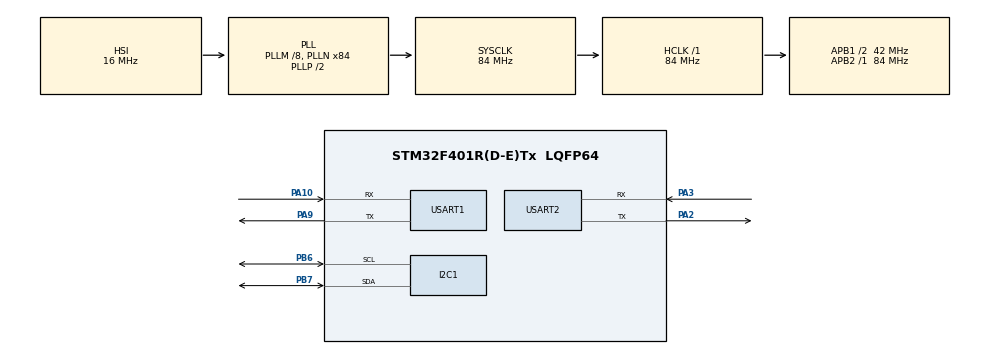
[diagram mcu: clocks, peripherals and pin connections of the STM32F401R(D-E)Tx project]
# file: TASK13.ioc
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Mcu.Family=STM32F4
Mcu.Name=STM32F401R(D-E)Tx
Mcu.Package=LQFP64
NVIC.I2C1_ER_IRQn=true\:0\:0\:false\:false\:true\:true\:true\:true
NVIC.I2C1_EV_IRQn=true\:0\:0\:false\:false\:true\:true\:true\:true
NVIC.PriorityGroup=NVIC_PRIORITYGROUP_4
NVIC.USART1_IRQn=true\:0\:0\:false\:false\:true\:true\:true\:true
NVIC.USART2_IRQn=true\:0\:0\:false\:false\:true\:true\:true\:true
PA10.Mode=Asynchronous
PA10.Signal=USART1_RX
PA13.Mode=Serial_Wire
PA13.Signal=SYS_JTMS-SWDIO
PA14.Mode=Serial_Wire
PA14.Signal=SYS_JTCK-SWCLK
PA2.Mode=Asynchronous
PA2.Signal=USART2_TX
PA3.Mode=Asynchronous
PA3.Signal=USART2_RX
PA9.Mode=Asynchronous
PA9.Signal=USART1_TX
PB6.Mode=I2C
PB6.Signal=I2C1_SCL
PB7.Mode=I2C
PB7.Signal=I2C1_SDA
PH0\ -\ OSC_IN.Mode=HSE-External-Clock-Source
PH0\ -\ OSC_IN.Signal=RCC_OSC_IN
PH1\ -\ OSC_OUT.Mode=HSE-External-Clock-Source
PH1\ -\ OSC_OUT.Signal=RCC_OSC_OUT
ProjectManager.HeapSize=0x200
ProjectManager.StackSize=0x400
ProjectManager.TargetToolchain=MDK-ARM V5.32
RCC.48MHZClocksFreq_Value=42000000
RCC.AHBFreq_Value=84000000
RCC.APB1CLKDivider=RCC_HCLK_DIV2
RCC.APB1Freq_Value=42000000
RCC.APB1TimFreq_Value=84000000
RCC.APB2Freq_Value=84000000
RCC.APB2TimFreq_Value=84000000
RCC.CortexFreq_Value=84000000
RCC.HCLKFreq_Value=84000000
RCC.HSE_VALUE=25000000
RCC.HSI_VALUE=16000000
RCC.LSE_VALUE=32768
RCC.PLLM=8
RCC.PLLN=84
RCC.SYSCLKFreq_VALUE=84000000
RCC.SYSCLKSource=RCC_SYSCLKSOURCE_PLLCLK
RCC.VCOOutputFreq_Value=168000000
USART1.VirtualMode=VM_ASYNC
USART2.VirtualMode=VM_ASYNC
board=custom

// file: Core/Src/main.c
/* USER CODE BEGIN Header */
/**
  ******************************************************************************
  * @file           : main.c
  * @brief          : Main program body
  ******************************************************************************
  * @attention
  *
  * Copyright (c) 2026 STMicroelectronics.
  * All rights reserved.
  *
  * This software is licensed under terms that can be found in the LICENSE file
  * in the root directory of this software component.
  * If no LICENSE file comes with this software, it is provided AS-IS.
  *
  ******************************************************************************
  */
/* USER CODE END Header */
#include "main.h"

/* USER CODE BEGIN Includes */
#include <stdio.h>
#include "bme280.h"
#include <string.h>
/* USER CODE END Includes */

I2C_HandleTypeDef hi2c1;

UART_HandleTypeDef huart1;
UART_HandleTypeDef huart2;

/* USER CODE BEGIN PV */
extern I2C_HandleTypeDef hi2c1; // Assumes I2C1 is configured via CubeMX
struct bme280_dev dev;
struct bme280_data comp_data;
int8_t rslt = BME280_OK;
struct bme280_settings settings;
// Variables to store final calculated values
float temperature, pressure, humidity;
/* USER CODE END PV */

void SystemClock_Config(void);
static void MX_GPIO_Init(void);
static void MX_I2C1_Init(void);
static void MX_USART2_UART_Init(void);
static void MX_USART1_UART_Init(void);
/* USER CODE BEGIN PFP */
int8_t user_i2c_read(uint8_t reg_addr, uint8_t *reg_data, uint32_t len, void *intf_ptr);
int8_t user_i2c_write(uint8_t reg_addr, const uint8_t *reg_data, uint32_t len, void *intf_ptr);
void   user_delay_us(uint32_t period, void *intf_ptr);
/* USER CODE END PFP */

int main(void)
{

  /* MCU Configuration--------------------------------------------------------*/

  /* Reset of all peripherals, Initializes the Flash interface and the Systick. */
  HAL_Init();

  /* Configure the system clock */
  SystemClock_Config();

  /* Initialize all configured peripherals */
  MX_GPIO_Init();
  MX_I2C1_Init();
  MX_USART2_UART_Init();
  MX_USART1_UART_Init();
  /* USER CODE BEGIN 2 */
	static uint8_t dev_addr = BME280_I2C_ADDR_PRIM; // 0x76 (use BME280_I2C_ADDR_SEC if SDO is high)

  // Set up the API configuration function pointers
  dev.intf_ptr = &dev_addr;
  dev.intf = BME280_I2C_INTF;
  dev.read = user_i2c_read;
  dev.write = user_i2c_write;
  dev.delay_us = user_delay_us;

  // Initialize the BME280 sensor (This automatically extracts the compensation data)
  rslt = bme280_init(&dev);

  // Configure sensor settings
  settings.osr_h = BME280_OVERSAMPLING_1X;
  settings.osr_p = BME280_OVERSAMPLING_1X;
  settings.osr_t = BME280_OVERSAMPLING_1X;
  settings.filter = BME280_FILTER_COEFF_OFF;

  rslt = bme280_set_sensor_settings(BME280_SEL_OSR_PRESS | BME280_SEL_OSR_TEMP |
  BME280_SEL_OSR_HUM | BME280_SEL_FILTER | BME280_SEL_STANDBY, &settings, &dev);

  // Set power mode to normal to enable continuous measurement cycles
  rslt = bme280_set_sensor_mode(BME280_POWERMODE_NORMAL, &dev);
  /* USER CODE END 2 */

  /* Infinite loop */
  while (1)
  {

    /* USER CODE BEGIN 3 */

		rslt = bme280_get_sensor_data(BME280_ALL, &comp_data, &dev);

    if (rslt == BME280_OK) {
        temperature = comp_data.temperature;           // °C
        pressure = comp_data.pressure / 100.0f;         // Convert Pa to hPa
        humidity = comp_data.humidity;                 // % Relative Humidity
		//Debug output over ST-LINK Terminal (USART2)

    char buf[100];
    int n = snprintf(buf, sizeof(buf),
                 "Temp: %.2f C | Press: %.2f hPa | Hum: %.2f %%RH\r\n",
                 temperature, pressure, humidity);
    HAL_UART_Transmit(&huart2, (uint8_t*)buf, n, HAL_MAX_DELAY);

//Construct dynamic JSON payload
   char json_payload[200];
   snprintf(json_payload, sizeof(json_payload),
         "{\"status\":\"success\",\"temperature\":%.2f,\"humidity\":%.2f,\"pressure\":%.2f}",
         temperature, humidity, pressure);

//Calculate dynamic Content-Length
   int content_length = strlen(json_payload);

//Construct raw HTTP 200 OK Response string
   char http_response[350];
   snprintf(http_response, sizeof(http_response),
         "HTTP/1.1 200 OK\r\n"
         "Content-Type: application/json\r\n"
         "Content-Length: %d\r\n"
         "\r\n"
         "%s",
         content_length, json_payload);

   int response_length = strlen(http_response);

//Send payload to ESP8266 Wi-Fi Module (USART1)
   char at_cmd[50];
   snprintf(at_cmd, sizeof(at_cmd), "AT+CIPSEND=0,%d\r\n", response_length);
   HAL_UART_Transmit(&huart1, (uint8_t*)at_cmd, strlen(at_cmd), HAL_MAX_DELAY);
   HAL_Delay(100);

   HAL_UART_Transmit(&huart1, (uint8_t*)http_response, response_length, HAL_MAX_DELAY);

  }
	   HAL_Delay(1000);
}
  /* USER CODE END 3 */
}

void SystemClock_Config(void)
{
  RCC_OscInitTypeDef RCC_OscInitStruct = {0};
  RCC_ClkInitTypeDef RCC_ClkInitStruct = {0};

  /** Configure the main internal regulator output voltage
  */
  __HAL_RCC_PWR_CLK_ENABLE();
  __HAL_PWR_VOLTAGESCALING_CONFIG(PWR_REGULATOR_VOLTAGE_SCALE2);

  /** Initializes the RCC Oscillators according to the specified parameters
  * in the RCC_OscInitTypeDef structure.
  */
  RCC_OscInitStruct.OscillatorType = RCC_OSCILLATORTYPE_HSI;
  RCC_OscInitStruct.HSIState = RCC_HSI_ON;
  RCC_OscInitStruct.HSICalibrationValue = RCC_HSICALIBRATION_DEFAULT;
  RCC_OscInitStruct.PLL.PLLState = RCC_PLL_ON;
  RCC_OscInitStruct.PLL.PLLSource = RCC_PLLSOURCE_HSI;
  RCC_OscInitStruct.PLL.PLLM = 8;
  RCC_OscInitStruct.PLL.PLLN = 84;
  RCC_OscInitStruct.PLL.PLLP = RCC_PLLP_DIV2;
  RCC_OscInitStruct.PLL.PLLQ = 4;
  if (HAL_RCC_OscConfig(&RCC_OscInitStruct) != HAL_OK)
  {
    Error_Handler();
  }

  /** Initializes the CPU, AHB and APB buses clocks
  */
  RCC_ClkInitStruct.ClockType = RCC_CLOCKTYPE_HCLK|RCC_CLOCKTYPE_SYSCLK
                              |RCC_CLOCKTYPE_PCLK1|RCC_CLOCKTYPE_PCLK2;
  RCC_ClkInitStruct.SYSCLKSource = RCC_SYSCLKSOURCE_PLLCLK;
  RCC_ClkInitStruct.AHBCLKDivider = RCC_SYSCLK_DIV1;
  RCC_ClkInitStruct.APB1CLKDivider = RCC_HCLK_DIV2;
  RCC_ClkInitStruct.APB2CLKDivider = RCC_HCLK_DIV1;

  if (HAL_RCC_ClockConfig(&RCC_ClkInitStruct, FLASH_LATENCY_2) != HAL_OK)
  {
    Error_Handler();
  }
}

static void MX_I2C1_Init(void)
{

  hi2c1.Instance = I2C1;
  hi2c1.Init.ClockSpeed = 100000;
  hi2c1.Init.DutyCycle = I2C_DUTYCYCLE_2;
  hi2c1.Init.OwnAddress1 = 0;
  hi2c1.Init.AddressingMode = I2C_ADDRESSINGMODE_7BIT;
  hi2c1.Init.DualAddressMode = I2C_DUALADDRESS_DISABLE;
  hi2c1.Init.OwnAddress2 = 0;
  hi2c1.Init.GeneralCallMode = I2C_GENERALCALL_DISABLE;
  hi2c1.Init.NoStretchMode = I2C_NOSTRETCH_DISABLE;
  if (HAL_I2C_Init(&hi2c1) != HAL_OK)
  {
    Error_Handler();
  }

}

static void MX_USART1_UART_Init(void)
{

  huart1.Instance = USART1;
  huart1.Init.BaudRate = 115200;
  huart1.Init.WordLength = UART_WORDLENGTH_8B;
  huart1.Init.StopBits = UART_STOPBITS_1;
  huart1.Init.Parity = UART_PARITY_NONE;
  huart1.Init.Mode = UART_MODE_TX_RX;
  huart1.Init.HwFlowCtl = UART_HWCONTROL_NONE;
  huart1.Init.OverSampling = UART_OVERSAMPLING_16;
  if (HAL_UART_Init(&huart1) != HAL_OK)
  {
    Error_Handler();
  }

}

static void MX_USART2_UART_Init(void)
{

  huart2.Instance = USART2;
  huart2.Init.BaudRate = 115200;
  huart2.Init.WordLength = UART_WORDLENGTH_8B;
  huart2.Init.StopBits = UART_STOPBITS_1;
  huart2.Init.Parity = UART_PARITY_NONE;
  huart2.Init.Mode = UART_MODE_TX_RX;
  huart2.Init.HwFlowCtl = UART_HWCONTROL_NONE;
  huart2.Init.OverSampling = UART_OVERSAMPLING_16;
  if (HAL_UART_Init(&huart2) != HAL_OK)
  {
    Error_Handler();
  }

}

static void MX_GPIO_Init(void)
{

  /* GPIO Ports Clock Enable */
  __HAL_RCC_GPIOH_CLK_ENABLE();
  __HAL_RCC_GPIOA_CLK_ENABLE();
  __HAL_RCC_GPIOB_CLK_ENABLE();

}

/* USER CODE BEGIN 4 */
int8_t user_i2c_read(uint8_t reg_addr, uint8_t *reg_data, uint32_t len, void *intf_ptr) {
// Dev address shifted left by 1 is handled by HAL
uint8_t dev_addr = *(uint8_t*)intf_ptr;
if (HAL_I2C_Mem_Read(&hi2c1, (dev_addr << 1), reg_addr, I2C_MEMADD_SIZE_8BIT, reg_data, len,
HAL_MAX_DELAY) == HAL_OK) {
    return BME280_OK;
}
return BME280_E_COMM_FAIL;
}

int8_t user_i2c_write(uint8_t reg_addr, const uint8_t *reg_data, uint32_t len, void *intf_ptr) {
uint8_t dev_addr = *(uint8_t*)intf_ptr;
if (HAL_I2C_Mem_Write(&hi2c1, (dev_addr << 1), reg_addr, I2C_MEMADD_SIZE_8BIT,
(uint8_t*)reg_data, len, HAL_MAX_DELAY) == HAL_OK) {
    return BME280_OK;
}
return BME280_E_COMM_FAIL;
}

void user_delay_us(uint32_t period, void *intf_ptr) {
// HAL provides millisecond delay; convert microseconds upward
HAL_Delay((period / 1000) + 1);
}
/* USER CODE END 4 */

void Error_Handler(void)
{
  __disable_irq();
  while (1)
  {
  }
}
